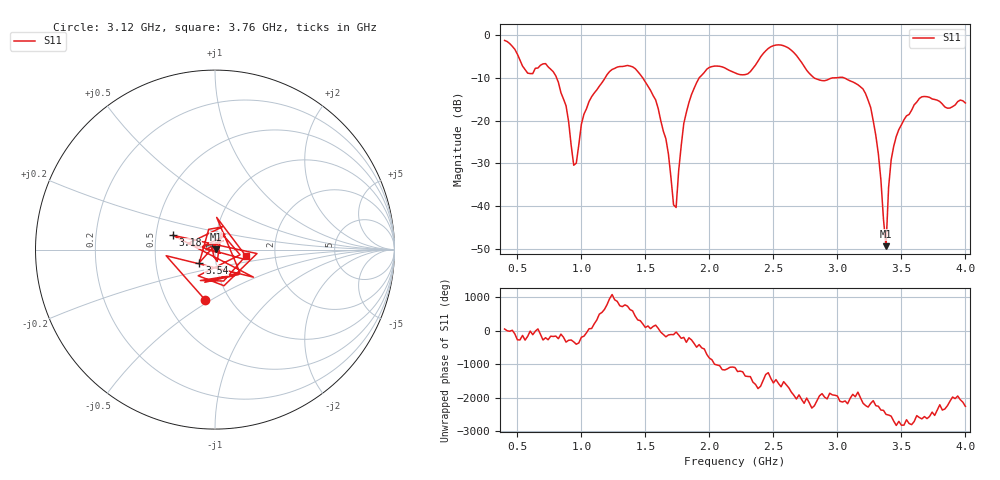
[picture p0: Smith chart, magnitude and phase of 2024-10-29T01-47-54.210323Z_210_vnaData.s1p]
!Created with skrf (http://scikit-rf.org).
# Hz S RI R 50.0
!freq ReS11 ImS11
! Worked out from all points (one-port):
!   181 points, 400 MHz to 4 GHz, reference 50 ohm
!   lowest |S11| = -49.4 dB at 3.38 GHz (marker M1), VSWR 1.01, Z = 50.3 + j0.106 ohm
!   |S11| at or under -10 dB: 806.6 MHz to 1.185 GHz (378.1 MHz wide, 38 % of centre); 1.48 GHz to 1.919 GHz (439.5 MHz wide, 25.9 % of centre); 3.054 GHz to end of sweep (the widest 3 of 4)
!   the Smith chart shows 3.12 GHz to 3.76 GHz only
!   S11 on the Smith chart (normalised r, x): 3.12 GHz: 0.77, -0.47; 3.18 GHz: 0.61, +0.10; 3.54 GHz: 0.83, -0.12; 3.76 GHz: 1.41, -0.11
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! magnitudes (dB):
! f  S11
! 400 MHz  -1.2
! 580 MHz  -8.9
! 720 MHz  -6.6
! 860 MHz  -14.9
! 940 MHz  -30.5
! 1.06 GHz  -15.5
! 1.3 GHz  -7.3
! 1.58 GHz  -15.1
! 1.66 GHz  -24.2
! 1.72 GHz  -39.7
! 1.74 GHz  -40.3
! 1.76 GHz  -31.7
! 1.8 GHz  -20.6
! 1.92 GHz  -10.0
! 2.2 GHz  -8.8
! 2.66 GHz  -4.1
! 2.82 GHz  -10.0
! 3.1 GHz  -10.7
! 3.12 GHz  -10.9
! 3.18 GHz  -12.1
! 3.3 GHz  -23.4
! 3.38 GHz  -49.4
! 3.4 GHz  -35.6
! 3.42 GHz  -29.2
! 3.54 GHz  -18.9
! 3.56 GHz  -18.5
! 3.76 GHz  -15.0
! 4 GHz  -15.9
